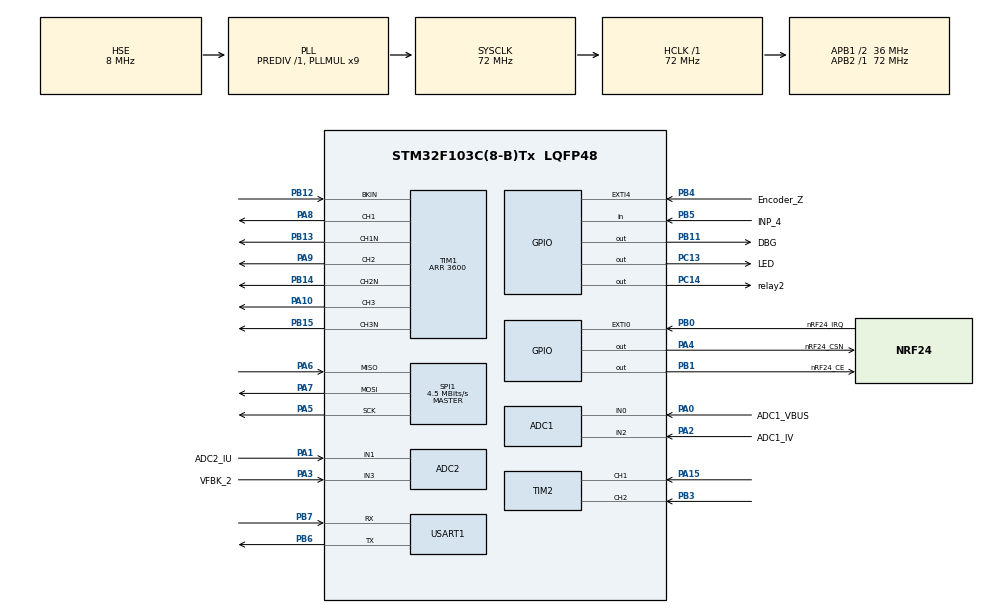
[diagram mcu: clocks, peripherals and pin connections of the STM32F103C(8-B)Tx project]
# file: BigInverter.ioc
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ADC1.Channel-0\#ChannelRegularConversion=ADC_CHANNEL_2
ADC1.Channel-1\#ChannelRegularConversion=ADC_CHANNEL_0
ADC1.EnableInjectedConversion=DISABLE
ADC1.ExternalTrigConv=ADC_EXTERNALTRIGCONV_T1_CC1
ADC1.InjNumberOfConversion=3
ADC1.Mode=ADC_DUALMODE_REGSIMULT_ALTERTRIG
ADC1.NbrOfConversion=2
ADC1.NbrOfConversionFlag=1
ADC1.Rank-0\#ChannelRegularConversion=1
ADC1.Rank-1\#ChannelRegularConversion=2
ADC1.SamplingTime-0\#ChannelRegularConversion=ADC_SAMPLETIME_1CYCLE_5
ADC1.SamplingTime-1\#ChannelRegularConversion=ADC_SAMPLETIME_1CYCLE_5
ADC1.master=1
ADC2.Channel-1\#ChannelRegularConversion=ADC_CHANNEL_1
ADC2.Channel-2\#ChannelRegularConversion=ADC_CHANNEL_3
ADC2.Mode=ADC_DUALMODE_REGSIMULT_ALTERTRIG
ADC2.NbrOfConversion=2
ADC2.NbrOfConversionFlag=1
ADC2.Rank-1\#ChannelRegularConversion=1
ADC2.Rank-2\#ChannelRegularConversion=2
ADC2.SamplingTime-1\#ChannelRegularConversion=ADC_SAMPLETIME_1CYCLE_5
ADC2.SamplingTime-2\#ChannelRegularConversion=ADC_SAMPLETIME_1CYCLE_5
Dma.ADC1.0.Direction=DMA_PERIPH_TO_MEMORY
Dma.ADC1.0.Instance=DMA1_Channel1
Dma.ADC1.0.MemDataAlignment=DMA_MDATAALIGN_WORD
Dma.ADC1.0.MemInc=DMA_MINC_ENABLE
Dma.ADC1.0.Mode=DMA_CIRCULAR
Dma.ADC1.0.PeriphDataAlignment=DMA_PDATAALIGN_WORD
Dma.ADC1.0.PeriphInc=DMA_PINC_DISABLE
Dma.ADC1.0.Priority=DMA_PRIORITY_LOW
Dma.Request0=ADC1
Mcu.Family=STM32F1
Mcu.Name=STM32F103C(8-B)Tx
Mcu.Package=LQFP48
NVIC.ADC1_2_IRQn=true\:1\:0\:true\:false\:true\:true\:true
NVIC.EXTI0_IRQn=true\:3\:0\:true\:false\:true\:true\:true
NVIC.EXTI4_IRQn=true\:0\:0\:false\:false\:true\:true\:true
NVIC.PriorityGroup=NVIC_PRIORITYGROUP_4
NVIC.SPI1_IRQn=true\:2\:0\:true\:false\:true\:true\:true
NVIC.TIM1_BRK_IRQn=true\:0\:0\:false\:false\:true\:true\:true
NVIC.TIM2_IRQn=true\:0\:0\:false\:false\:true\:true\:true
PA0-WKUP.GPIO_Label=ADC1_VBUS
PA0-WKUP.Signal=ADCx_IN0
PA1.GPIO_Label=ADC2_IU
PA1.Signal=ADCx_IN1
PA10.Signal=S_TIM1_CH3
PA13.Mode=Serial_Wire
PA13.Signal=SYS_JTMS-SWDIO
PA14.Mode=Serial_Wire
PA14.Signal=SYS_JTCK-SWCLK
PA15.GPIO_PuPd=GPIO_PULLUP
PA15.Signal=S_TIM2_CH1_ETR
PA2.GPIO_Label=ADC1_IV
PA2.Signal=ADCx_IN2
PA3.GPIO_Label=VFBK_2
PA3.Signal=ADCx_IN3
PA4.GPIO_Label=nRF24_CSN
PA4.GPIO_Speed=GPIO_SPEED_FREQ_HIGH
PA4.Signal=GPIO_Output
PA5.Mode=Full_Duplex_Master
PA5.Signal=SPI1_SCK
PA6.GPIO_PuPd=GPIO_PULLUP
PA6.Mode=Full_Duplex_Master
PA6.Signal=SPI1_MISO
PA7.Mode=Full_Duplex_Master
PA7.Signal=SPI1_MOSI
PA8.Signal=S_TIM1_CH1
PA9.Signal=S_TIM1_CH2
PB0.GPIO_Label=nRF24_IRQ
PB0.GPIO_ModeDefaultEXTI=GPIO_MODE_IT_FALLING
PB0.GPIO_PuPd=GPIO_PULLUP
PB0.Signal=GPXTI0
PB1.GPIO_Label=nRF24_CE
PB1.GPIO_Speed=GPIO_SPEED_FREQ_HIGH
PB1.Signal=GPIO_Output
PB11.GPIO_Label=DBG
PB11.GPIO_ModeDefaultOutputPP=GPIO_MODE_OUTPUT_PP
PB11.GPIO_PuPd=GPIO_PULLUP
PB11.Signal=GPIO_Output
PB12.Mode=Activate-Break-Input
PB12.Signal=TIM1_BKIN
PB13.GPIO_ModeDefaultPP=GPIO_MODE_AF_PP
PB13.Mode=PWM Generation1 CH1 CH1N
PB13.Signal=TIM1_CH1N
PB14.GPIO_ModeDefaultPP=GPIO_MODE_AF_PP
PB14.Mode=PWM Generation2 CH2 CH2N
PB14.Signal=TIM1_CH2N
PB15.Mode=PWM Generation3 CH3 CH3N
PB15.Signal=TIM1_CH3N
PB3.GPIO_PuPd=GPIO_PULLUP
PB3.Signal=S_TIM2_CH2
PB4.GPIO_Label=Encoder_Z
PB4.GPIO_ModeDefaultEXTI=GPIO_MODE_IT_FALLING
PB4.GPIO_PuPd=GPIO_PULLUP
PB4.Signal=GPXTI4
PB5.GPIO_Label=INP_4
PB5.Signal=GPIO_Input
PB6.Mode=Asynchronous
PB6.Signal=USART1_TX
PB7.Mode=Asynchronous
PB7.Signal=USART1_RX
PC13-TAMPER-RTC.GPIO_Label=LED
PC13-TAMPER-RTC.Signal=GPIO_Output
PC14-OSC32_IN.GPIO_Label=relay2
PC14-OSC32_IN.Signal=GPIO_Output
PD0-OSC_IN.Mode=HSE-External-Oscillator
PD0-OSC_IN.Signal=RCC_OSC_IN
PD1-OSC_OUT.Mode=HSE-External-Oscillator
PD1-OSC_OUT.Signal=RCC_OSC_OUT
ProjectManager.HeapSize=0x200
ProjectManager.StackSize=0x400
ProjectManager.TargetToolchain=MDK-ARM V5.27
RCC.ADCPresc=RCC_ADCPCLK2_DIV6
RCC.AHBFreq_Value=72000000
RCC.APB1CLKDivider=RCC_HCLK_DIV2
RCC.APB1Freq_Value=36000000
RCC.APB1TimFreq_Value=72000000
RCC.APB2Freq_Value=72000000
RCC.APB2TimFreq_Value=72000000
RCC.HCLKFreq_Value=72000000
RCC.PLLMUL=RCC_PLL_MUL9
RCC.PLLSourceVirtual=RCC_PLLSOURCE_HSE
RCC.SYSCLKFreq_VALUE=72000000
RCC.SYSCLKSource=RCC_SYSCLKSOURCE_PLLCLK
RCC.USBFreq_Value=72000000
SH.ADCx_IN0.0=ADC1_IN0,IN0
SH.ADCx_IN1.0=ADC2_IN1,IN1
SH.ADCx_IN2.0=ADC1_IN2,IN2
SH.ADCx_IN3.0=ADC2_IN3,IN3
SH.S_TIM1_CH1.0=TIM1_CH1,PWM Generation1 CH1 CH1N
SH.S_TIM1_CH2.0=TIM1_CH2,PWM Generation2 CH2 CH2N
SH.S_TIM1_CH3.0=TIM1_CH3,PWM Generation3 CH3 CH3N
SH.S_TIM2_CH1_ETR.0=TIM2_CH1,Encoder_Interface
SH.S_TIM2_CH2.0=TIM2_CH2,Encoder_Interface
SPI1.BaudRatePrescaler=SPI_BAUDRATEPRESCALER_16
SPI1.CRCCalculation=SPI_CRCCALCULATION_DISABLE
SPI1.CalculateBaudRate=4.5 MBits/s
SPI1.DataSize=SPI_DATASIZE_8BIT
SPI1.Direction=SPI_DIRECTION_2LINES
SPI1.Mode=SPI_MODE_MASTER
SPI1.VirtualType=VM_MASTER
TIM1.AutomaticOutput=TIM_AUTOMATICOUTPUT_DISABLE
TIM1.BreakPolarity=TIM_BREAKPOLARITY_LOW
TIM1.BreakState=TIM_BREAK_ENABLE
TIM1.Channel-PWM\ Generation1\ CH1\ CH1N=TIM_CHANNEL_1
TIM1.Channel-PWM\ Generation2\ CH2\ CH2N=TIM_CHANNEL_2
TIM1.Channel-PWM\ Generation3\ CH3\ CH3N=TIM_CHANNEL_3
TIM1.CounterMode=TIM_COUNTERMODE_CENTERALIGNED1
TIM1.DeadTime=80
TIM1.OCNPolarity_1=TIM_OCNPOLARITY_LOW
TIM1.OCNPolarity_2=TIM_OCNPOLARITY_LOW
TIM1.OCNPolarity_3=TIM_OCNPOLARITY_LOW
TIM1.OCPolarity_1=TIM_OCPOLARITY_LOW
TIM1.OCPolarity_2=TIM_OCPOLARITY_LOW
TIM1.OCPolarity_3=TIM_OCPOLARITY_LOW
TIM1.Period=3600
TIM1.Pulse-PWM\ Generation1\ CH1\ CH1N=1800
TIM1.Pulse-PWM\ Generation2\ CH2\ CH2N=1800
TIM1.Pulse-PWM\ Generation3\ CH3\ CH3N=1800
TIM1.TIM_MasterOutputTrigger=TIM_TRGO_OC1REF
TIM2.EncoderMode=TIM_ENCODERMODE_TI12
USART1.VirtualMode=VM_ASYNC
VP_TIM1_VS_ClockSourceINT.Mode=Internal
board=custom

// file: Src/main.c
/* USER CODE BEGIN Header */
/**
  ******************************************************************************
  * @file           : main.c
  * @brief          : Main program body
  ******************************************************************************
  * @attention
  *
  * <h2><center>&copy; Copyright (c) 2020 STMicroelectronics.
  * All rights reserved.</center></h2>
  *
  * This software component is licensed by ST under BSD 3-Clause license,
  * the "License"; You may not use this file except in compliance with the
  * License. You may obtain a copy of the License at:
  *                        opensource.org/licenses/BSD-3-Clause
  *
  ******************************************************************************
  */
/* USER CODE END Header */
#include "main.h"

/* USER CODE BEGIN Includes */
//#include "nrf24l01.h"
#include "arm_math.h"
#include "nrf24.h"
//#include "svpwm.h"
volatile float ABS_Position;
extern volatile int Encoder_CNT;
uint8_t check;
const float SQRT13 =  0.5773502f;   //	1/sqrt(3)
const float SQRT23 =  1.1547005f;   //	2/sqrt(3)
const float SQRT32 = 	0.8660254f;  	//	sqrt(3)/2
const int SQRT32_INT = 28377;
const int SQRT13_INT = 18918;
const int SQRT23_INT = 37836;
const float PIRAD = 3.1415926f;
const float PIRAD_2 = 1.57079f;

//ENCODER CONFIG
const uint16_t ENC_PULSES = 8000;
const uint16_t ENC_INITIAL = ENC_PULSES/2 - 1;
const float ENC_PULSES_TO_DEGREES = 360.0f/ENC_PULSES;

//MOTOR CONFIG
const uint16_t MOTOR_POLES = 4;

//REDUCER GEAR
const float GEAR_RATIO = 1.0f/30.0f;
typedef union {
		float f;
		unsigned char c[4];
}FloatU;
int ix;
typedef struct {
	int P;
	int I;
	int D;
	int P2;
	int SetPoint;
} Control_Parameter;
extern float IUF,IVF,VBus,VFBK2,TempSTK;
int I_PROT_COUNT = 15, Protect_I_Count = 0;
int I_PROTECTION = 1000;
uint32_t ADC_values[4];
extern int IU_OFFSET,IV_OFFSET;
float IUCALIB,IVCALIB,Data_Position,DataT;
float SP_spd,SP_q,SP_d;
char Status;
int Pos_int;
int POT = 0;
int IQM;
uint16_t Pos_uint;

int delay;
volatile short int Pos_degrees,Pos_elec,Pos_Sin,Pos_Cos;
volatile short int SENO,SENO2;
uint16_t merda;

//float Pos_e;
Control_Parameter CSpd, CPosition, CCur;
int Va,Vb,Vc;
int Va2,Vb2,Vc2,Vm2,VaMAX;
//float ialfa,ibeta;
int Error_d,Iterm_d,Pterm_dTMP,Pterm_d;
int Error_q,Iterm_q,Pterm_q,Pterm_qTMP;
FloatU id,iq;
extern int IU,IV;
int ialfa_INT,ibeta_INT;
int Id,Iq;
int qLimit;
int qLimit2,qLimit3;
volatile int Pos_temp,Pos_temp2,Pos_temp3;
/* USER CODE END Includes */

ADC_HandleTypeDef hadc1;
ADC_HandleTypeDef hadc2;
DMA_HandleTypeDef hdma_adc1;

SPI_HandleTypeDef hspi1;

TIM_HandleTypeDef htim1;
TIM_HandleTypeDef htim2;

UART_HandleTypeDef huart1;

void SystemClock_Config(void);
static void MX_GPIO_Init(void);
static void MX_DMA_Init(void);
static void MX_ADC1_Init(void);
static void MX_ADC2_Init(void);
static void MX_TIM1_Init(void);
static void MX_TIM2_Init(void);
static void MX_SPI1_Init(void);
static void MX_USART1_UART_Init(void);
/* USER CODE BEGIN PFP */
void nRF24CSN_L(void) {
	HAL_GPIO_WritePin(nRF24_CSN_GPIO_Port,nRF24_CSN_Pin,0);
}
void nRF24CSN_H(void) {
	HAL_GPIO_WritePin(nRF24_CSN_GPIO_Port,nRF24_CSN_Pin,1);
}
void nRF24CE_L(void) {
	HAL_GPIO_WritePin(nRF24_CE_GPIO_Port,nRF24_CE_Pin,0);
}
void nRF24CE_H(void) {
	HAL_GPIO_WritePin(nRF24_CE_GPIO_Port,nRF24_CE_Pin,1);
}

void Trip(void){

	TIM1->CCER &= 0xEAAA;						//Disable OUTPUTS 1-6
	TIM1->CR1  &= 0xFFFE;						//STOP Counter
	TIM1->BDTR &= ~TIM_BDTR_MOE;
	HAL_NVIC_DisableIRQ(DMA1_Channel1_IRQn);
	HAL_NVIC_DisableIRQ(ADC1_2_IRQn);
	HAL_NVIC_DisableIRQ(USART1_IRQn);//USART1_IRQHandler
	while (1)
	{
	  TIM1->BDTR &= ~TIM_BDTR_MOE;	//MASTER OUTPUT PWM
	}

}
void PMSM_FOC(void){
		HAL_GPIO_WritePin(LED_GPIO_Port, LED_Pin,1);
	if((delay > 10000) && (Status <= 'C')) {
		//delay = 2 = 1ms/ 4000 = 2s

		delay++;
		if(delay < 24000) {

			if(delay > 10002) {
				TIM1->CCER |= 0x555;										//Enable OUTPUTS 1-6
				TIM1->BDTR |= TIM_BDTR_MOE;
			}
			if(delay > 14000) {
				TIM1->SR &= 0x7F;						//Clear Fault Break Status
				TIM1->BDTR |= 0x1000;				//Habilita Fault Break
				TIM1->DIER |= TIM_DIER_BIE;		//Ativa interrupt de Fault Break
				delay = 25000;

				if ((IUCALIB <= 30.0f) && (IVCALIB <= 30.0f)) {	//Ajusta Offset de corrente ACS712
					IU_OFFSET = IU_OFFSET - ((int) IUCALIB);
					IV_OFFSET = IV_OFFSET - ((int) IVCALIB);
					Status = 'B';
				}
				else {
					//Fault_OFFSET_I = 1;
					Status = 'O';		//OFFSET ERROR
				}

			}
			TIM1->CCR1 = 3600/2 + (int) 450;		//Leg U
			TIM1->CCR2 = 3600/2 + (int) 0;		//Leg V
			TIM1->CCR3 = 3600/2 + (int) 0;		//Leg W
			TIM2->CNT = ENC_INITIAL;
		}
		else {
		if(delay > 25000) delay = 25000;

		//Proteção
		//IU e IV
		//I_PROTECTION = 1000 = 12.08A

		if ((IU > I_PROTECTION) || (IV > I_PROTECTION) || (IU < -I_PROTECTION) || (IV < -I_PROTECTION)) Protect_I_Count++;
		else 	Protect_I_Count = 0;

		if (Protect_I_Count > I_PROT_COUNT) {
			Status = 'I';	//Overcurrent
			//Fault_Overcurrent	= 1;
			Trip();
			return;
		}

		//Calculo da posição 8000p/Rotation
		//Pos_elec 4 turns/rotation -> Electrical Position -> 4 Pole Pairs / 0 - 360°/ 0 - 32767
		//Pos_degrees mechanical position / 0 - 360°/ 0 - 32767

		Pos_temp3 = (TIM2->CNT - 3999) + Encoder_CNT;

		Pos_temp2 = Pos_temp3%2000;
		Pos_elec = (Pos_temp2*163835/10000) & 0x7FFF;				//angulo elétrico motor 4 Par de Polos
		Pos_degrees = (Pos_temp2*40958/10000) & 0x7FFF;				//angulo mecanico
		Pos_Sin = arm_sin_q15(Pos_elec);
		Pos_Cos = arm_cos_q15(Pos_elec);

		//TIPO DE CONTROLE

		#define POSITION 	0
		#define SPEED 		0
		#define CURRENT 	1

		#define FIELDW 	0

				#if (POSITION) 	//Controle de Posição
			SP_pos 	= Sy;//SP_pos + (float)oi3*0.01f;
		#elif (CURRENT) 	//Controle de corrente
			SP_q		=(((float)POT) + SP_q*15)/16;
		#elif (SPEED) 	//Controle de RPM/Corrente
 				SP_spd	=(((float)POT/70) + SP_spd*15)/16;

		#endif

		//*******   A B C to Alpha Beta

		//ialfa = SQRT23*Iam - SQRT23*Ibm/2 - SQRT23*Icm/2; ia + ib + ic = 0 / ic = -ia -ib
		//ibeta = 0 + SQRT2_2*Ibm - SQRT2_2*Icm;

		ialfa_INT = IU;
		ibeta_INT = SQRT13_INT*IU/32767 + SQRT23_INT*IV/32767;

		//Alpha Beta to DQ

		Id = (Pos_Cos*ialfa_INT/32767) + (Pos_Sin*ibeta_INT/32767);
		Iq = -(Pos_Sin*ialfa_INT/32767) + (Pos_Cos*ibeta_INT/32767);

		IQM = (Iq*39599)/32767;
		//id.f =  (Pos_Cos*ialfa_INT/32767) + (Pos_Sin*ibeta_INT/32767);
		//iq.f = -(Pos_Sin*ialfa_INT/32767) + (Pos_Cos*ibeta_INT/32767);

		//*******   Current control 'D' part
		{
		#if (SPEED &&  FIELDW) 	//Controle de RPM/Corrente
			SP_d = (int)Z	;		//Field Weakening
			SP_d = SP_d/100.0f;
		#endif

		Error_d=SP_d-Id;
		Iterm_d = Iterm_d + Error_d*CCur.I/32767;					//+Iterm2_d;
		if (Iterm_d > 900) Iterm_d = 900;					//anti-windup
		else if (Iterm_d < -900) Iterm_d = -900;
		//Pterm_dTMP = Error_d*CCur.P.f;
		Pterm_d = Error_d*CCur.P/32767 + Iterm_d;				//Resultante Controle Corrente D

		if (Pterm_d > 900) Pterm_d = 900;					//Limitador Saída
		else if (Pterm_d < -900) Pterm_d = -900;
		}

		//*******   Current control 'Q' part
		{
		arm_sqrt_q31(3534400 - (Pterm_d*Pterm_d),&qLimit);				//Limitador geométrico do 'q' baseado no Pterm_D
		qLimit = qLimit/46341;		//SQRT function adequação
		if (qLimit > 1880) qLimit = 1880;

		Error_q=SP_q-Iq;

		Iterm_q = Iterm_q + Error_q*CCur.I/32767;

		if (Iterm_q > qLimit) Iterm_q = qLimit;					//anti-windup
		else if (Iterm_q < -(qLimit)) Iterm_q = -qLimit;
		//Pterm_qTMP = Error_q*CCur.P.f;
		Pterm_q = Error_q*CCur.P/32767 + Iterm_q;				//Resultante Controle Corrente Q

		if (Pterm_q > qLimit) Pterm_q = qLimit;					//Limitador Saída
		else if (Pterm_q < -qLimit) Pterm_q = -qLimit;

		//Q positivo Movimento ANTIHORARIO, Angulação aumenta (Positiva) +

		}

		ialfa_INT = (Pos_Cos*Pterm_d/32767) - (Pos_Sin*Pterm_q/32767);
		ibeta_INT = (Pos_Sin*Pterm_d/32767) + (Pos_Cos*Pterm_q/32767);

		Va = ialfa_INT;
		Vb = -ialfa_INT/2 + SQRT32_INT*ibeta_INT/32767;
		Vc = -ialfa_INT/2 - SQRT32_INT*ibeta_INT/32767;

		Vm2 = (MAX(Va,Vb,Vc) + MIN(Va,Vb,Vc))/2;
		Va2 = -Vm2 + Va;
		Vb2 = -Vm2 + Vb;
		Vc2 = -Vm2 + Vc;

		Status = 'C';	//Control Loop working

		if (VaMAX < Va2) {
			VaMAX = Va2;
		}

		TIM1->CCR1 = 1800 + (int) Va2;//Va;		//Leg A
		TIM1->CCR2 = 1800 + (int) Vb2;// + (int)Tabela[indiceB]*amp;		//Leg B
		TIM1->CCR3 = 1800 + (int) Vc2;// + (int)Tabela[indiceC]*amp;		//Leg C

	}

	}
		else {
		IUCALIB = (IU + IUCALIB*2000)/2001;
		IVCALIB = (IV + IVCALIB*2000)/2001;
		delay++;
		}
		HAL_GPIO_WritePin(LED_GPIO_Port, LED_Pin,0);
}
int MAX(int v1,int v2,int v3) {
	if ((v1 >= v2) && (v1 >= v3)) {
		return v1;
	}
	else if ((v2 > v1) && (v2 > v3)) {
		return v2;
	}
	else {
		return v3;
	}
}
int MIN(int v1,int v2,int v3) {
	if ((v1 <= v2) && (v1 <= v3)) {
		return v1;
	}
	else if ((v2 < v1) && (v2 < v3)) {
		return v2;
	}
	else {
		return v3;
	}
}

uint32_t i,j,k;

// Buffer to store a payload of maximum width
uint8_t nRF24_payload[32];

// Pipe number
nRF24_RXResult pipe;

// Length of received payload
uint8_t payload_length;

void nRF24_GPIO_Init(void) {
int merda;
	merda= 1;
}

// Low level SPI transmit/receive function (hardware depended)
// input:
//   data - value to transmit via SPI
// return: value received from SPI
uint8_t nRF24_LL_RW(uint8_t data) {
	 // Wait until TX buffer is empty
	while ((SPI1->SR & SPI_SR_TXE) == 0);
	// Send byte to SPI (TXE cleared)
	SPI1->DR = data;
	//SPI_I2S_SendData(nRF24_SPI_PORT, data);
	// Wait while receive buffer is empty
	while ((SPI1->SR & SPI_SR_RXNE) == 0);

	// Return received byte
	return (uint8_t)SPI1->DR;
}

void INIT_ALL(void) {

	//SysTick_Config(1440); ////144000 -> 2ms
	//DMA INIT
			//ADC_DMA

	DMA1_Channel1->CNDTR = 2;															//Tamanho do dado
	DMA1_Channel1->CPAR = (uint32_t)&ADC12_COMMON->DR;
	DMA1_Channel1->CMAR = (uint32_t)&ADC_values;
	//DMA1_Channel1->CCR = 0x3AAB;	//Canal habilitado, FULL INT, HALFWORD
	DMA1_Channel1->CCR |= DMA_CCR_EN;

	//ADC INIT
	HAL_ADCEx_Calibration_Start(&hadc1);
	HAL_ADCEx_Calibration_Start(&hadc2);

	ADC1->CR1 |= ADC_CR1_EOCIE;
	ADC1->CR2 = 0;
	ADC2->CR2 = 0;
	ADC1->CR2 |= ADC_CR2_DMA;
	ADC2->CR2 |= ADC_CR2_DMA;

	ADC1->CR2 |= ADC_CR2_ADON | ADC_CR2_EXTTRIG;
	ADC2->CR2 |= ADC_CR2_ADON | ADC_CR2_EXTTRIG;

	// TIMER 1 PWM
	TIM1->CCER |= (TIM_CCER_CC1E | TIM_CCER_CC1NE | TIM_CCER_CC2E | TIM_CCER_CC2NE | TIM_CCER_CC3E | TIM_CCER_CC3NE);
	TIM1->DIER |= TIM_DIER_BIE;	//BREAK INTERRUPT
	TIM1->BDTR |= TIM_BDTR_MOE;	//MASTER OUTPUT PWM

	TIM1->CR1 |= TIM_CR1_CEN;		//TIMER EN

	//TIMER 2 ENCODER
	TIM2->DIER |= TIM_DIER_CC4IE | TIM_DIER_CC3IE;
	TIM2->CCER |= TIM_CCER_CC4E | TIM_CCER_CC3E;
	TIM2->CCR3 = ENC_INITIAL-2000;
	TIM2->CCR4 = ENC_INITIAL+2000;

	TIM2->CNT = ENC_INITIAL;//3999;
	TIM2->ARR = 7999;//
	TIM2->CR1 |= TIM_CR1_CEN;		//TIMER EN

	IU_OFFSET = 2045;
	IV_OFFSET = 2035;
	Status = '0';	//Initial State

	CCur.P = 0.110f * 32767;		//15			//120				//1000	//300
	CCur.I = 0.0305f * 32767;		//10			//30				//30	//12

	//CSpd.P.f = 1.0f;			//0.5			//1
	//CSpd.I.f = 0.002f;		//0.0005		//0.008
	//CSpd.D.f = 0.05f;			//0.05		//0.5

	//CPosition.P.f = 0.01f;
	//CPosition.P2.f = 0.03f;
	//CPosition.I.f = 0.0002f;		//I when Locked
	//CPosition.D.f = 0.2f;			//P2 when locked
	SP_d = 0;
	SPI1->CR1 |= SPI_CR1_SPE;
	SPI1->CR2 |= SPI_CR2_RXNEIE;
}
/* USER CODE END PFP */

int main(void)
{

  /* MCU Configuration--------------------------------------------------------*/

  /* Reset of all peripherals, Initializes the Flash interface and the Systick. */
  HAL_Init();

  /* Configure the system clock */
  SystemClock_Config();

  /* Initialize all configured peripherals */
  MX_GPIO_Init();
  MX_DMA_Init();
  MX_ADC1_Init();
  MX_ADC2_Init();
  MX_TIM1_Init();
  MX_TIM2_Init();
  MX_SPI1_Init();
  MX_USART1_UART_Init();
  /* USER CODE BEGIN 2 */

  INIT_ALL();
	HAL_Delay(2000);
	HAL_GPIO_WritePin(relay2_GPIO_Port,relay2_Pin,1);
	Status = 'A';	//Initial State + Relayok

			//svpwm1.b_Vm = 10;
		//svpwm1.b_freq = 10;
	//nRF24CE_L();
	//check = nRF24_Check();

	//example();

  /* USER CODE END 2 */

  /* Infinite loop */
while (1)
  {

    /* USER CODE BEGIN 3 */
		ABS_Position = ((float)Pos_temp3)*ENC_PULSES_TO_DEGREES;
  }
  /* USER CODE END 3 */
}

void SystemClock_Config(void)
{
  RCC_OscInitTypeDef RCC_OscInitStruct = {0};
  RCC_ClkInitTypeDef RCC_ClkInitStruct = {0};
  RCC_PeriphCLKInitTypeDef PeriphClkInit = {0};

  /** Initializes the RCC Oscillators according to the specified parameters
  * in the RCC_OscInitTypeDef structure.
  */
  RCC_OscInitStruct.OscillatorType = RCC_OSCILLATORTYPE_HSE;
  RCC_OscInitStruct.HSEState = RCC_HSE_ON;
  RCC_OscInitStruct.HSEPredivValue = RCC_HSE_PREDIV_DIV1;
  RCC_OscInitStruct.HSIState = RCC_HSI_ON;
  RCC_OscInitStruct.PLL.PLLState = RCC_PLL_ON;
  RCC_OscInitStruct.PLL.PLLSource = RCC_PLLSOURCE_HSE;
  RCC_OscInitStruct.PLL.PLLMUL = RCC_PLL_MUL9;
  if (HAL_RCC_OscConfig(&RCC_OscInitStruct) != HAL_OK)
  {
    Error_Handler();
  }
  /** Initializes the CPU, AHB and APB buses clocks
  */
  RCC_ClkInitStruct.ClockType = RCC_CLOCKTYPE_HCLK|RCC_CLOCKTYPE_SYSCLK
                              |RCC_CLOCKTYPE_PCLK1|RCC_CLOCKTYPE_PCLK2;
  RCC_ClkInitStruct.SYSCLKSource = RCC_SYSCLKSOURCE_PLLCLK;
  RCC_ClkInitStruct.AHBCLKDivider = RCC_SYSCLK_DIV1;
  RCC_ClkInitStruct.APB1CLKDivider = RCC_HCLK_DIV2;
  RCC_ClkInitStruct.APB2CLKDivider = RCC_HCLK_DIV1;

  if (HAL_RCC_ClockConfig(&RCC_ClkInitStruct, FLASH_LATENCY_2) != HAL_OK)
  {
    Error_Handler();
  }
  PeriphClkInit.PeriphClockSelection = RCC_PERIPHCLK_ADC;
  PeriphClkInit.AdcClockSelection = RCC_ADCPCLK2_DIV6;
  if (HAL_RCCEx_PeriphCLKConfig(&PeriphClkInit) != HAL_OK)
  {
    Error_Handler();
  }
}

static void MX_ADC1_Init(void)
{

  ADC_MultiModeTypeDef multimode = {0};
  ADC_ChannelConfTypeDef sConfig = {0};

  /** Common config
  */
  hadc1.Instance = ADC1;
  hadc1.Init.ScanConvMode = ADC_SCAN_ENABLE;
  hadc1.Init.ContinuousConvMode = DISABLE;
  hadc1.Init.DiscontinuousConvMode = DISABLE;
  hadc1.Init.ExternalTrigConv = ADC_EXTERNALTRIGCONV_T1_CC1;
  hadc1.Init.DataAlign = ADC_DATAALIGN_RIGHT;
  hadc1.Init.NbrOfConversion = 2;
  if (HAL_ADC_Init(&hadc1) != HAL_OK)
  {
    Error_Handler();
  }
  /** Configure the ADC multi-mode
  */
  multimode.Mode = ADC_DUALMODE_REGSIMULT_ALTERTRIG;
  if (HAL_ADCEx_MultiModeConfigChannel(&hadc1, &multimode) != HAL_OK)
  {
    Error_Handler();
  }
  /** Configure Regular Channel
  */
  sConfig.Channel = ADC_CHANNEL_2;
  sConfig.Rank = ADC_REGULAR_RANK_1;
  sConfig.SamplingTime = ADC_SAMPLETIME_1CYCLE_5;
  if (HAL_ADC_ConfigChannel(&hadc1, &sConfig) != HAL_OK)
  {
    Error_Handler();
  }
  /** Configure Regular Channel
  */
  sConfig.Channel = ADC_CHANNEL_0;
  sConfig.Rank = ADC_REGULAR_RANK_2;
  if (HAL_ADC_ConfigChannel(&hadc1, &sConfig) != HAL_OK)
  {
    Error_Handler();
  }

}

static void MX_ADC2_Init(void)
{

  ADC_ChannelConfTypeDef sConfig = {0};

  /** Common config
  */
  hadc2.Instance = ADC2;
  hadc2.Init.ScanConvMode = ADC_SCAN_ENABLE;
  hadc2.Init.ContinuousConvMode = DISABLE;
  hadc2.Init.DiscontinuousConvMode = DISABLE;
  hadc2.Init.ExternalTrigConv = ADC_SOFTWARE_START;
  hadc2.Init.DataAlign = ADC_DATAALIGN_RIGHT;
  hadc2.Init.NbrOfConversion = 2;
  if (HAL_ADC_Init(&hadc2) != HAL_OK)
  {
    Error_Handler();
  }
  /** Configure Regular Channel
  */
  sConfig.Channel = ADC_CHANNEL_1;
  sConfig.Rank = ADC_REGULAR_RANK_1;
  sConfig.SamplingTime = ADC_SAMPLETIME_1CYCLE_5;
  if (HAL_ADC_ConfigChannel(&hadc2, &sConfig) != HAL_OK)
  {
    Error_Handler();
  }
  /** Configure Regular Channel
  */
  sConfig.Channel = ADC_CHANNEL_3;
  sConfig.Rank = ADC_REGULAR_RANK_2;
  if (HAL_ADC_ConfigChannel(&hadc2, &sConfig) != HAL_OK)
  {
    Error_Handler();
  }

}

static void MX_SPI1_Init(void)
{

  /* SPI1 parameter configuration*/
  hspi1.Instance = SPI1;
  hspi1.Init.Mode = SPI_MODE_MASTER;
  hspi1.Init.Direction = SPI_DIRECTION_2LINES;
  hspi1.Init.DataSize = SPI_DATASIZE_8BIT;
  hspi1.Init.CLKPolarity = SPI_POLARITY_LOW;
  hspi1.Init.CLKPhase = SPI_PHASE_1EDGE;
  hspi1.Init.NSS = SPI_NSS_SOFT;
  hspi1.Init.BaudRatePrescaler = SPI_BAUDRATEPRESCALER_16;
  hspi1.Init.FirstBit = SPI_FIRSTBIT_MSB;
  hspi1.Init.TIMode = SPI_TIMODE_DISABLE;
  hspi1.Init.CRCCalculation = SPI_CRCCALCULATION_DISABLE;
  hspi1.Init.CRCPolynomial = 10;
  if (HAL_SPI_Init(&hspi1) != HAL_OK)
  {
    Error_Handler();
  }

}

static void MX_TIM1_Init(void)
{

  TIM_ClockConfigTypeDef sClockSourceConfig = {0};
  TIM_MasterConfigTypeDef sMasterConfig = {0};
  TIM_OC_InitTypeDef sConfigOC = {0};
  TIM_BreakDeadTimeConfigTypeDef sBreakDeadTimeConfig = {0};

  htim1.Instance = TIM1;
  htim1.Init.Prescaler = 0;
  htim1.Init.CounterMode = TIM_COUNTERMODE_CENTERALIGNED1;
  htim1.Init.Period = 3600;
  htim1.Init.ClockDivision = TIM_CLOCKDIVISION_DIV1;
  htim1.Init.RepetitionCounter = 0;
  htim1.Init.AutoReloadPreload = TIM_AUTORELOAD_PRELOAD_DISABLE;
  if (HAL_TIM_Base_Init(&htim1) != HAL_OK)
  {
    Error_Handler();
  }
  sClockSourceConfig.ClockSource = TIM_CLOCKSOURCE_INTERNAL;
  if (HAL_TIM_ConfigClockSource(&htim1, &sClockSourceConfig) != HAL_OK)
  {
    Error_Handler();
  }
  if (HAL_TIM_PWM_Init(&htim1) != HAL_OK)
  {
    Error_Handler();
  }
  sMasterConfig.MasterOutputTrigger = TIM_TRGO_OC1REF;
  sMasterConfig.MasterSlaveMode = TIM_MASTERSLAVEMODE_DISABLE;
  if (HAL_TIMEx_MasterConfigSynchronization(&htim1, &sMasterConfig) != HAL_OK)
  {
    Error_Handler();
  }
  sConfigOC.OCMode = TIM_OCMODE_PWM1;
  sConfigOC.Pulse = 1800;
  sConfigOC.OCPolarity = TIM_OCPOLARITY_LOW;
  sConfigOC.OCNPolarity = TIM_OCNPOLARITY_LOW;
  sConfigOC.OCFastMode = TIM_OCFAST_DISABLE;
  sConfigOC.OCIdleState = TIM_OCIDLESTATE_RESET;
  sConfigOC.OCNIdleState = TIM_OCNIDLESTATE_RESET;
  if (HAL_TIM_PWM_ConfigChannel(&htim1, &sConfigOC, TIM_CHANNEL_1) != HAL_OK)
  {
    Error_Handler();
  }
  if (HAL_TIM_PWM_ConfigChannel(&htim1, &sConfigOC, TIM_CHANNEL_2) != HAL_OK)
  {
    Error_Handler();
  }
  if (HAL_TIM_PWM_ConfigChannel(&htim1, &sConfigOC, TIM_CHANNEL_3) != HAL_OK)
  {
    Error_Handler();
  }
  sBreakDeadTimeConfig.OffStateRunMode = TIM_OSSR_DISABLE;
  sBreakDeadTimeConfig.OffStateIDLEMode = TIM_OSSI_DISABLE;
  sBreakDeadTimeConfig.LockLevel = TIM_LOCKLEVEL_OFF;
  sBreakDeadTimeConfig.DeadTime = 80;
  sBreakDeadTimeConfig.BreakState = TIM_BREAK_ENABLE;
  sBreakDeadTimeConfig.BreakPolarity = TIM_BREAKPOLARITY_LOW;
  sBreakDeadTimeConfig.AutomaticOutput = TIM_AUTOMATICOUTPUT_DISABLE;
  if (HAL_TIMEx_ConfigBreakDeadTime(&htim1, &sBreakDeadTimeConfig) != HAL_OK)
  {
    Error_Handler();
  }
  HAL_TIM_MspPostInit(&htim1);

}

static void MX_TIM2_Init(void)
{

  TIM_Encoder_InitTypeDef sConfig = {0};
  TIM_MasterConfigTypeDef sMasterConfig = {0};

  htim2.Instance = TIM2;
  htim2.Init.Prescaler = 0;
  htim2.Init.CounterMode = TIM_COUNTERMODE_UP;
  htim2.Init.Period = 65535;
  htim2.Init.ClockDivision = TIM_CLOCKDIVISION_DIV1;
  htim2.Init.AutoReloadPreload = TIM_AUTORELOAD_PRELOAD_DISABLE;
  sConfig.EncoderMode = TIM_ENCODERMODE_TI12;
  sConfig.IC1Polarity = TIM_ICPOLARITY_RISING;
  sConfig.IC1Selection = TIM_ICSELECTION_DIRECTTI;
  sConfig.IC1Prescaler = TIM_ICPSC_DIV1;
  sConfig.IC1Filter = 0;
  sConfig.IC2Polarity = TIM_ICPOLARITY_RISING;
  sConfig.IC2Selection = TIM_ICSELECTION_DIRECTTI;
  sConfig.IC2Prescaler = TIM_ICPSC_DIV1;
  sConfig.IC2Filter = 0;
  if (HAL_TIM_Encoder_Init(&htim2, &sConfig) != HAL_OK)
  {
    Error_Handler();
  }
  sMasterConfig.MasterOutputTrigger = TIM_TRGO_RESET;
  sMasterConfig.MasterSlaveMode = TIM_MASTERSLAVEMODE_DISABLE;
  if (HAL_TIMEx_MasterConfigSynchronization(&htim2, &sMasterConfig) != HAL_OK)
  {
    Error_Handler();
  }

}

static void MX_USART1_UART_Init(void)
{

  huart1.Instance = USART1;
  huart1.Init.BaudRate = 115200;
  huart1.Init.WordLength = UART_WORDLENGTH_8B;
  huart1.Init.StopBits = UART_STOPBITS_1;
  huart1.Init.Parity = UART_PARITY_NONE;
  huart1.Init.Mode = UART_MODE_TX_RX;
  huart1.Init.HwFlowCtl = UART_HWCONTROL_NONE;
  huart1.Init.OverSampling = UART_OVERSAMPLING_16;
  if (HAL_UART_Init(&huart1) != HAL_OK)
  {
    Error_Handler();
  }

}

static void MX_DMA_Init(void)
{

  /* DMA controller clock enable */
  __HAL_RCC_DMA1_CLK_ENABLE();

}

static void MX_GPIO_Init(void)
{
  GPIO_InitTypeDef GPIO_InitStruct = {0};

  /* GPIO Ports Clock Enable */
  __HAL_RCC_GPIOC_CLK_ENABLE();
  __HAL_RCC_GPIOD_CLK_ENABLE();
  __HAL_RCC_GPIOA_CLK_ENABLE();
  __HAL_RCC_GPIOB_CLK_ENABLE();

  /*Configure GPIO pin Output Level */
  HAL_GPIO_WritePin(GPIOC, LED_Pin|relay2_Pin, GPIO_PIN_RESET);

  /*Configure GPIO pin Output Level */
  HAL_GPIO_WritePin(nRF24_CSN_GPIO_Port, nRF24_CSN_Pin, GPIO_PIN_RESET);

  /*Configure GPIO pin Output Level */
  HAL_GPIO_WritePin(GPIOB, nRF24_CE_Pin|DBG_Pin, GPIO_PIN_RESET);

  /*Configure GPIO pins : LED_Pin relay2_Pin */
  GPIO_InitStruct.Pin = LED_Pin|relay2_Pin;
  GPIO_InitStruct.Mode = GPIO_MODE_OUTPUT_PP;
  GPIO_InitStruct.Pull = GPIO_NOPULL;
  GPIO_InitStruct.Speed = GPIO_SPEED_FREQ_LOW;
  HAL_GPIO_Init(GPIOC, &GPIO_InitStruct);

  /*Configure GPIO pin : nRF24_CSN_Pin */
  GPIO_InitStruct.Pin = nRF24_CSN_Pin;
  GPIO_InitStruct.Mode = GPIO_MODE_OUTPUT_PP;
  GPIO_InitStruct.Pull = GPIO_NOPULL;
  GPIO_InitStruct.Speed = GPIO_SPEED_FREQ_HIGH;
  HAL_GPIO_Init(nRF24_CSN_GPIO_Port, &GPIO_InitStruct);

  /*Configure GPIO pins : nRF24_IRQ_Pin Encoder_Z_Pin */
  GPIO_InitStruct.Pin = nRF24_IRQ_Pin|Encoder_Z_Pin;
  GPIO_InitStruct.Mode = GPIO_MODE_IT_FALLING;
  GPIO_InitStruct.Pull = GPIO_PULLUP;
  HAL_GPIO_Init(GPIOB, &GPIO_InitStruct);

  /*Configure GPIO pin : nRF24_CE_Pin */
  GPIO_InitStruct.Pin = nRF24_CE_Pin;
  GPIO_InitStruct.Mode = GPIO_MODE_OUTPUT_PP;
  GPIO_InitStruct.Pull = GPIO_NOPULL;
  GPIO_InitStruct.Speed = GPIO_SPEED_FREQ_HIGH;
  HAL_GPIO_Init(nRF24_CE_GPIO_Port, &GPIO_InitStruct);

  /*Configure GPIO pin : DBG_Pin */
  GPIO_InitStruct.Pin = DBG_Pin;
  GPIO_InitStruct.Mode = GPIO_MODE_OUTPUT_PP;
  GPIO_InitStruct.Pull = GPIO_PULLUP;
  GPIO_InitStruct.Speed = GPIO_SPEED_FREQ_LOW;
  HAL_GPIO_Init(DBG_GPIO_Port, &GPIO_InitStruct);

  /*Configure GPIO pin : INP_4_Pin */
  GPIO_InitStruct.Pin = INP_4_Pin;
  GPIO_InitStruct.Mode = GPIO_MODE_INPUT;
  GPIO_InitStruct.Pull = GPIO_NOPULL;
  HAL_GPIO_Init(INP_4_GPIO_Port, &GPIO_InitStruct);

  /* EXTI interrupt init*/
  HAL_NVIC_SetPriority(EXTI0_IRQn, 3, 0);
  HAL_NVIC_EnableIRQ(EXTI0_IRQn);

  HAL_NVIC_SetPriority(EXTI4_IRQn, 0, 0);
  HAL_NVIC_EnableIRQ(EXTI4_IRQn);

}

void Error_Handler(void)
{
}

/************************ (C) COPYRIGHT STMicroelectronics *****END OF FILE****/
